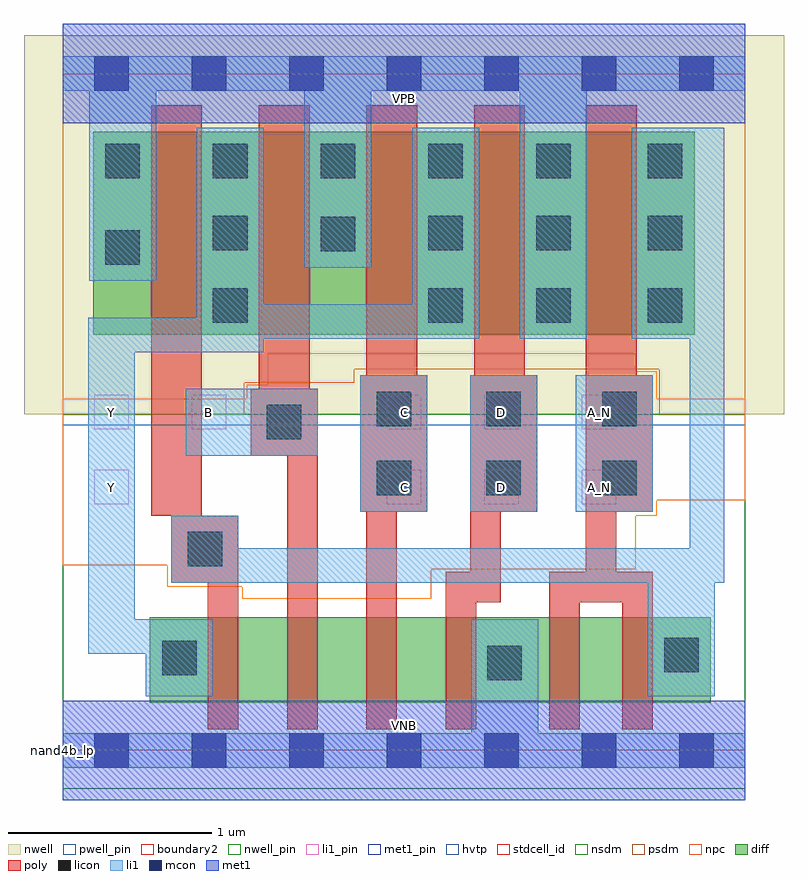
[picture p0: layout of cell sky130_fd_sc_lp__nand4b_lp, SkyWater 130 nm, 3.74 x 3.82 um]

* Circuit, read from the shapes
.subckt sky130_fd_sc_lp__nand4b_lp A_N B C D VGND VNB VPB VPWR Y
XM1 n1 n2 Y VNB sky130_fd_pr__nfet_01v8 w=0.42 l=0.15
XM2 n3 B n1 VNB sky130_fd_pr__nfet_01v8 w=0.42 l=0.15
XM3 n4 C n3 VNB sky130_fd_pr__nfet_01v8 w=0.42 l=0.15
XM4 VGND D n4 VNB sky130_fd_pr__nfet_01v8 w=0.42 l=0.15
XM5 n5 A_N VGND VNB sky130_fd_pr__nfet_01v8 w=0.42 l=0.15
XM6 n2 A_N n5 VNB sky130_fd_pr__nfet_01v8 w=0.42 l=0.15
XM7 Y n2 VPWR VPB sky130_fd_pr__pfet_01v8_hvt w=1 l=0.25
XM8 VPWR B Y VPB sky130_fd_pr__pfet_01v8_hvt w=1 l=0.25
XM9 Y C VPWR VPB sky130_fd_pr__pfet_01v8_hvt w=1 l=0.25
XM10 VPWR D Y VPB sky130_fd_pr__pfet_01v8_hvt w=1 l=0.25
XM11 n2 A_N VPWR VPB sky130_fd_pr__pfet_01v8_hvt w=1 l=0.25
.ends

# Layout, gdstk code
import gdstk
lib = gdstk.Library(unit=1e-6, precision=1e-09)
def R(c, l, rs):  # rectangles x0, y0, x1, y1
    for r in rs: c.add(gdstk.rectangle(r[:2], r[2:], *l))
def A(c, l, x, y, w, h, nx, ny, dx, dy):  # array of equal rectangles
    R(c, l, [(x+i*dx, y+j*dy, x+i*dx+w, y+j*dy+h) for i in range(nx) for j in range(ny)])
def P(c, l, *ps):  # polygons
    for p in ps: c.add(gdstk.Polygon(p, *l))
nwell_pin = (64, 16)
nwell = (64, 20)
diff = (65, 20)
poly = (66, 20)
licon = (66, 44)
li1_pin = (67, 16)
li1 = (67, 20)
mcon = (67, 44)
met1_pin = (68, 16)
met1 = (68, 20)
hvtp = (78, 44)
stdcell_id = (81, 4)
nsdm = (93, 44)
psdm = (94, 20)
npc = (95, 20)
pwell_pin = (122, 16)
boundary2 = (236, 0)

sky130_fd_sc_lp__nand4b_ = lib.new_cell('sky130_fd_sc_lp__nand4b_lp')
R(sky130_fd_sc_lp__nand4b_, nwell_pin, [(0,3.085,3.36,3.33)])
R(sky130_fd_sc_lp__nand4b_, nwell, [(-0.19,1.655,3.55,3.52)])
R(sky130_fd_sc_lp__nand4b_, diff, [(0.43,0.235,3.19,0.655), (0.15,2.045,3.11,3.045)])
P(sky130_fd_sc_lp__nand4b_, poly, [(0.865,1.155),(0.685,1.155),(0.685,3.175),(0.435,3.175),(0.435,1.155),(0.535,1.155),(0.535,0.825),(0.715,0.825),(0.715,0.105),(0.865,0.105)],
  [(1.255,1.78),(1.215,1.78),(1.215,3.175),(0.965,3.175),(0.965,1.78),(0.925,1.78),(0.925,1.45),(1.105,1.45),(1.105,0.105),(1.255,0.105)],
  [(1.795,1.845),(1.745,1.845),(1.745,3.175),(1.495,3.175),(1.495,1.845),(1.465,1.845),(1.465,1.175),(1.495,1.175),(1.495,0.105),(1.645,0.105),(1.645,1.175),(1.795,1.175)],
  [(2.335,1.845),(2.275,1.845),(2.275,3.175),(2.025,3.175),(2.025,1.845),(2.005,1.845),(2.005,0.88),(1.885,0.88),(1.885,0.105),(2.035,0.105),(2.035,0.73),(2.155,0.73),(2.155,1.175),(2.335,1.175)],
  [(2.905,0.88),(2.725,0.88),(2.725,1.175),(2.905,1.175),(2.905,1.845),(2.825,1.845),(2.825,3.175),(2.575,3.175),(2.575,0.88),(2.395,0.88),(2.395,0.105),(2.545,0.105),(2.545,0.73),(2.755,0.73),(2.755,0.105),(2.905,0.105)])
A(sky130_fd_sc_lp__nand4b_, licon, 2.88, 2.105, 0.17, 0.17, 1, 3, 0, 0.355)
A(sky130_fd_sc_lp__nand4b_, licon, 0.21, 2.815, 0.17, 0.17, 5, 1, 0.53, 0)
R(sky130_fd_sc_lp__nand4b_, licon, [(2.09,0.345,2.26,0.515), (0.49,0.37,0.66,0.54), (2.96,0.385,3.13,0.555), (0.615,0.905,0.785,1.075), (1.545,1.255,1.715,1.425), (2.085,1.255,2.255,1.425), (2.655,1.255,2.825,1.425), (1.005,1.53,1.175,1.7), (1.545,1.595,1.715,1.765), (2.085,1.595,2.255,1.765), (2.655,1.595,2.825,1.765), (0.74,2.105,0.91,2.275), (1.8,2.105,1.97,2.275), (2.33,2.105,2.5,2.275), (0.21,2.39,0.38,2.56), (1.27,2.455,1.44,2.625), (0.74,2.46,0.91,2.63), (1.8,2.46,1.97,2.63), (2.33,2.46,2.5,2.63)])
A(sky130_fd_sc_lp__nand4b_, li1_pin, 1.595, 1.21, 0.17, 0.17, 3, 2, 0.48, 0.37)
R(sky130_fd_sc_lp__nand4b_, li1_pin, [(0.155,1.21,0.325,1.38), (0.155,1.58,0.325,1.75), (0.635,1.58,0.805,1.75)])
R(sky130_fd_sc_lp__nand4b_, li1, [(1.465,1.175,1.795,1.845), (2.005,1.175,2.335,1.845), (2.525,1.175,2.905,1.845), (0.605,1.45,1.255,1.78)])
P(sky130_fd_sc_lp__nand4b_, li1, [(0.13,2.31),(0.13,3.245),(0,3.245),(0,3.415),(3.36,3.415),(3.36,3.245),(2.58,3.245),(2.58,2.025),(2.25,2.025),(2.25,3.245),(1.52,3.245),(1.52,2.375),(1.19,2.375),(1.19,3.245),(0.46,3.245),(0.46,2.31)],
  [(2.01,0.085),(2.01,0.645),(2.34,0.645),(2.34,0.085),(3.36,0.085),(3.36,-0.085),(0,-0.085),(0,0.085)],
  [(0.125,2.13),(0.66,2.13),(0.66,3.065),(0.99,3.065),(0.99,2.195),(1.72,2.195),(1.72,3.065),(2.05,3.065),(2.05,2.025),(0.99,2.025),(0.99,1.96),(0.355,1.96),(0.355,0.645),(0.74,0.645),(0.74,0.265),(0.41,0.265),(0.41,0.475),(0.125,0.475)],
  [(0.865,0.995),(3.085,0.995),(3.085,2.025),(2.8,2.025),(2.8,3.065),(3.255,3.065),(3.255,0.825),(3.21,0.825),(3.21,0.265),(2.88,0.265),(2.88,0.825),(0.535,0.825),(0.535,1.155),(0.865,1.155)])
A(sky130_fd_sc_lp__nand4b_, mcon, 0.155, -0.085, 0.17, 0.17, 7, 2, 0.48, 3.33)
R(sky130_fd_sc_lp__nand4b_, met1_pin, [(0,0,3.36,0.245), (0,3.085,3.36,3.33)])
R(sky130_fd_sc_lp__nand4b_, met1, [(0,-0.245,3.36,0.245), (0,3.085,3.36,3.575)])
R(sky130_fd_sc_lp__nand4b_, hvtp, [(0,1.6,3.36,3.33)])
R(sky130_fd_sc_lp__nand4b_, stdcell_id, [(0,0,3.36,3.33)])
R(sky130_fd_sc_lp__nand4b_, nsdm, [(0,-0.19,3.36,1.655)])
P(sky130_fd_sc_lp__nand4b_, psdm, [(3.36,3.52),(0,3.52),(0,1.655),(0.895,1.655),(0.895,1.81),(1.435,1.81),(1.435,1.875),(2.935,1.875),(2.935,1.655),(3.36,1.655)])
P(sky130_fd_sc_lp__nand4b_, npc, [(3.36,1.73),(2.925,1.73),(2.925,1.865),(2.82,1.865),(2.82,1.955),(1.01,1.955),(1.01,1.8),(0.905,1.8),(0.905,1.73),(0,1.73),(0,0.91),(0.515,0.91),(0.515,0.805),(0.885,0.805),(0.885,0.745),(1.815,0.745),(1.815,0.89),(2.82,0.89),(2.82,1.155),(2.925,1.155),(2.925,1.23),(3.36,1.23)])
R(sky130_fd_sc_lp__nand4b_, pwell_pin, [(0,0,3.36,0.245)])
R(sky130_fd_sc_lp__nand4b_, boundary2, [(0,0,3.36,3.33)])
sky130_fd_sc_lp__nand4b_.add(gdstk.Label('VNB', (1.68,0.123), layer=64, texttype=59))
sky130_fd_sc_lp__nand4b_.add(gdstk.Label('VPB', (1.68,3.208), layer=64, texttype=5))
sky130_fd_sc_lp__nand4b_.add(gdstk.Label('nand4b_lp', (0,0), layer=83, texttype=44))
sky130_fd_sc_lp__nand4b_.add(gdstk.Label('VPWR', (1.68,3.208), layer=68, texttype=5))
sky130_fd_sc_lp__nand4b_.add(gdstk.Label('VGND', (1.68,0.123), layer=68, texttype=5))
sky130_fd_sc_lp__nand4b_.add(gdstk.Label('D', (2.16,1.295), layer=67, texttype=5))
sky130_fd_sc_lp__nand4b_.add(gdstk.Label('D', (2.16,1.665), layer=67, texttype=5))
sky130_fd_sc_lp__nand4b_.add(gdstk.Label('Y', (0.24,1.295), layer=67, texttype=5))
sky130_fd_sc_lp__nand4b_.add(gdstk.Label('Y', (0.24,1.665), layer=67, texttype=5))
sky130_fd_sc_lp__nand4b_.add(gdstk.Label('C', (1.68,1.295), layer=67, texttype=5))
sky130_fd_sc_lp__nand4b_.add(gdstk.Label('C', (1.68,1.665), layer=67, texttype=5))
sky130_fd_sc_lp__nand4b_.add(gdstk.Label('B', (0.72,1.665), layer=67, texttype=5))
sky130_fd_sc_lp__nand4b_.add(gdstk.Label('A_N', (2.64,1.295), layer=67, texttype=5))
sky130_fd_sc_lp__nand4b_.add(gdstk.Label('A_N', (2.64,1.665), layer=67, texttype=5))

lib.write_gds('sky130_fd_sc_lp__nand4b_lp.gds')
